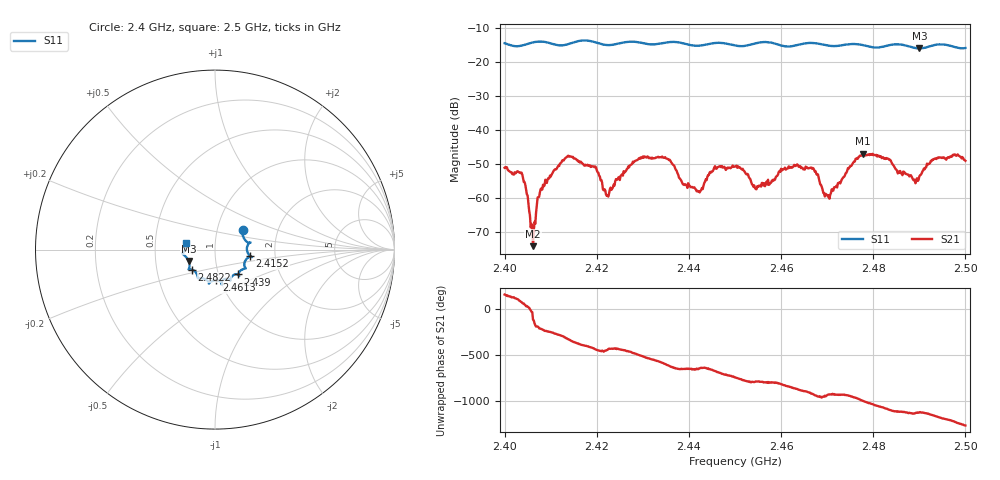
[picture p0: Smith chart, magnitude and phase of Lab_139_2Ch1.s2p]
# Hz S RI R 50
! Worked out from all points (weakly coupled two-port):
!   601 points, 2.4 GHz to 2.5 GHz, reference 50 ohm
!   highest |S21| = -46.96 dB at 2.4778 GHz (marker M1); lowest = -74.2 dB at 2.4062 GHz (marker M2)
!   lowest |S11| = -15.9 dB at 2.49 GHz (marker M3), VSWR 1.38, Z = 36.9 - j4.85 ohm
!   |S11| at or under -10 dB: start of sweep to end of sweep
!   S12 and S22 are empty: the file has one direction only
!   S11 on the Smith chart (normalised r, x): 2.4 GHz: 1.33, +0.31; 2.4152 GHz: 1.48, -0.11; 2.439 GHz: 1.24, -0.36; 2.4613 GHz: 0.96, -0.34; 2.4822 GHz: 0.76, -0.17; 2.5 GHz: 0.72, +0.05
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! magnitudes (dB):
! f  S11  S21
! 2.4 GHz  -14.4  -51.1
! 2.4038 GHz  -15.0  -53.1
! 2.4062 GHz  -14.1  -74.2
! 2.4083 GHz  -13.9  -56.1
! 2.4152 GHz  -14.0  -48.4
! 2.4167 GHz  -13.6  -49.5
! 2.4223 GHz  -14.9  -59.2
! 2.4283 GHz  -14.0  -49.1
! 2.4333 GHz  -14.6  -47.9
! 2.439 GHz  -14.5  -56.2
! 2.4422 GHz  -15.1  -58.1
! 2.45 GHz  -15.0  -50.7
! 2.4545 GHz  -14.4  -57.4
! 2.4613 GHz  -15.3  -51.3
! 2.4667 GHz  -14.3  -51.4
! 2.4703 GHz  -15.1  -59.2
! 2.4778 GHz  -15.0  -47.0
! 2.4822 GHz  -15.4  -48.0
! 2.4833 GHz  -15.0  -48.5
! 2.49 GHz  -15.9  -53.6
! 2.4935 GHz  -14.9  -48.3
! 2.5 GHz  -15.8  -49.0
